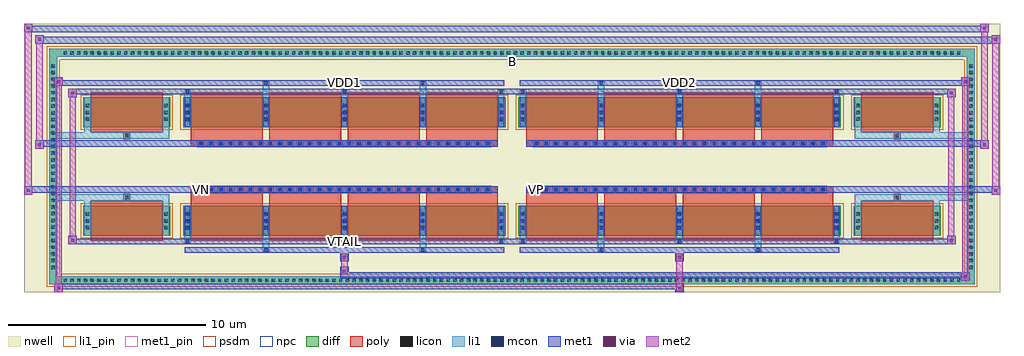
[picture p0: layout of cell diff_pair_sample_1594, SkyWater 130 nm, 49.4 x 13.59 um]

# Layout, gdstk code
import gdstk
lib = gdstk.Library(unit=1e-6, precision=5e-09)
def R(c, l, rs):  # rectangles x0, y0, x1, y1
    for r in rs: c.add(gdstk.rectangle(r[:2], r[2:], *l))
def A(c, l, x, y, w, h, nx, ny, dx, dy):  # array of equal rectangles
    R(c, l, [(x+i*dx, y+j*dy, x+i*dx+w, y+j*dy+h) for i in range(nx) for j in range(ny)])
def P(c, l, *ps):  # polygons
    for p in ps: c.add(gdstk.Polygon(p, *l))
nwell = (64, 20)
diff = (65, 20)
poly = (66, 20)
licon = (66, 44)
li1_pin = (67, 16)
li1 = (67, 20)
mcon = (67, 44)
met1_pin = (68, 16)
met1 = (68, 20)
via = (68, 44)
met2 = (69, 20)
psdm = (94, 20)
npc = (95, 20)

diff_pair_sample_1594 = lib.new_cell('diff_pair_sample_1594')
R(diff_pair_sample_1594, nwell, [(-24.7,-6.36,24.7,7.23), (-22.02,-4.55,-0.01,-0.795), (0.01,-4.55,22.02,-0.795), (-22.02,0.795,-0.01,4.55), (0.01,0.795,22.02,4.55)])
A(diff_pair_sample_1594, diff, -22.815, -5.96, 0.41, 0.41, 134, 2, 0.34, 11.51)
A(diff_pair_sample_1594, diff, -23.43, -5.305, 0.41, 0.41, 1, 31, 0, 0.34)
A(diff_pair_sample_1594, diff, 23.02, -5.305, 0.41, 0.41, 1, 31, 0, 0.34)
R(diff_pair_sample_1594, diff, [(-22.815,-5.96,22.815,-5.55), (-23.43,-5.305,-23.02,5.305), (23.02,-5.305,23.43,5.305), (-21.71,-3.505,-17.29,-1.985), (-16.65,-3.505,-0.32,-1.985), (0.32,-3.505,16.65,-1.985), (17.29,-3.505,21.71,-1.985), (-21.71,1.985,-17.29,3.505), (-16.65,1.985,-0.32,3.505), (0.32,1.985,16.65,3.505), (17.29,1.985,21.71,3.505), (-22.815,5.55,22.815,5.96)])
P(diff_pair_sample_1594, diff, [(23.43,5.96),(-23.43,5.96),(-23.43,-5.55),(-23.02,-5.55),(-23.02,5.55),(23.02,5.55),(23.02,-5.55),(-23.02,-5.55),(-23.43,-5.55),(-23.43,-5.96),(23.43,-5.96)])
A(diff_pair_sample_1594, poly, -16.26, -3.755, 3.64, 2.02, 4, 2, 3.97, 5.49)
A(diff_pair_sample_1594, poly, 0.71, -3.755, 3.64, 2.02, 4, 2, 3.97, 5.49)
A(diff_pair_sample_1594, poly, -16.26, -1.735, 3.64, 0.41, 4, 2, 3.97, 3.06)
A(diff_pair_sample_1594, poly, 0.71, -1.735, 3.64, 0.41, 4, 2, 3.97, 3.06)
A(diff_pair_sample_1594, poly, -15.9, -1.325, 0.33, 0.33, 30, 2, 0.5, 2.32)
A(diff_pair_sample_1594, poly, 1.07, -1.325, 0.33, 0.33, 30, 2, 0.5, 2.32)
R(diff_pair_sample_1594, poly, [(-21.32,-3.755,-17.68,-1.735), (17.68,-3.755,21.32,-1.735), (-19.665,-1.735,-19.335,-1.405), (-19.665,-1.735,-19.335,-1.405), (19.335,-1.735,19.665,-1.405), (19.335,-1.735,19.665,-1.405), (-16.26,-1.325,-0.71,-0.995), (0.71,-1.325,16.26,-0.995), (-16.26,0.995,-0.71,1.325), (0.71,0.995,16.26,1.325), (-19.665,1.405,-19.335,1.735), (-19.665,1.405,-19.335,1.735), (19.335,1.405,19.665,1.735), (19.335,1.405,19.665,1.735), (-21.32,1.735,-17.68,3.755), (17.68,1.735,21.32,3.755)])
A(diff_pair_sample_1594, licon, -22.695, -5.84, 0.17, 0.17, 134, 2, 0.34, 11.51)
A(diff_pair_sample_1594, licon, -23.31, -5.185, 0.17, 0.17, 1, 31, 0, 0.34)
A(diff_pair_sample_1594, licon, 23.14, -5.185, 0.17, 0.17, 1, 31, 0, 0.34)
A(diff_pair_sample_1594, licon, -21.57, -3.17, 0.17, 0.17, 1, 3, 0, 0.34)
A(diff_pair_sample_1594, licon, -17.6, -3.17, 0.17, 0.17, 1, 3, 0, 0.34)
A(diff_pair_sample_1594, licon, -16.51, -3.17, 0.17, 0.17, 5, 3, 3.97, 0.34)
A(diff_pair_sample_1594, licon, 0.46, -3.17, 0.17, 0.17, 5, 3, 3.97, 0.34)
A(diff_pair_sample_1594, licon, 17.43, -3.17, 0.17, 0.17, 1, 3, 0, 0.34)
A(diff_pair_sample_1594, licon, 21.4, -3.17, 0.17, 0.17, 1, 3, 0, 0.34)
A(diff_pair_sample_1594, licon, -15.82, -1.245, 0.17, 0.17, 30, 2, 0.5, 2.32)
A(diff_pair_sample_1594, licon, 1.15, -1.245, 0.17, 0.17, 30, 2, 0.5, 2.32)
A(diff_pair_sample_1594, licon, -21.57, 2.32, 0.17, 0.17, 1, 3, 0, 0.34)
A(diff_pair_sample_1594, licon, -17.6, 2.32, 0.17, 0.17, 1, 3, 0, 0.34)
A(diff_pair_sample_1594, licon, -16.51, 2.32, 0.17, 0.17, 5, 3, 3.97, 0.34)
A(diff_pair_sample_1594, licon, 0.46, 2.32, 0.17, 0.17, 5, 3, 3.97, 0.34)
A(diff_pair_sample_1594, licon, 17.43, 2.32, 0.17, 0.17, 1, 3, 0, 0.34)
A(diff_pair_sample_1594, licon, 21.4, 2.32, 0.17, 0.17, 1, 3, 0, 0.34)
R(diff_pair_sample_1594, licon, [(-19.585,-1.655,-19.415,-1.485), (19.415,-1.655,19.585,-1.485), (-19.585,1.485,-19.415,1.655), (19.415,1.485,19.585,1.655)])
R(diff_pair_sample_1594, li1_pin, [(-0.25,5.05,0.25,5.55)])
A(diff_pair_sample_1594, li1, -22.775, -5.92, 0.33, 0.33, 134, 2, 0.34, 11.51)
A(diff_pair_sample_1594, li1, -23.39, -5.265, 0.33, 0.33, 1, 31, 0, 0.34)
A(diff_pair_sample_1594, li1, 23.06, -5.265, 0.33, 0.33, 1, 31, 0, 0.34)
A(diff_pair_sample_1594, li1, -16.59, -3.88, 0.33, 0.375, 3, 2, 7.94, 7.385)
A(diff_pair_sample_1594, li1, -16.51, -3.88, 0.17, 0.17, 3, 2, 7.94, 7.59)
A(diff_pair_sample_1594, li1, 0.38, -3.88, 0.33, 0.375, 3, 2, 7.94, 7.385)
A(diff_pair_sample_1594, li1, 0.46, -3.88, 0.17, 0.17, 3, 2, 7.94, 7.59)
A(diff_pair_sample_1594, li1, -16.59, -3.505, 0.33, 1.52, 5, 2, 3.97, 5.49)
A(diff_pair_sample_1594, li1, 0.38, -3.505, 0.33, 1.52, 5, 2, 3.97, 5.49)
A(diff_pair_sample_1594, li1, -21.65, -3.25, 0.33, 0.33, 1, 3, 0, 0.34)
A(diff_pair_sample_1594, li1, -17.68, -3.25, 0.33, 0.33, 1, 3, 0, 0.34)
A(diff_pair_sample_1594, li1, -16.59, -3.25, 0.33, 0.33, 5, 3, 3.97, 0.34)
A(diff_pair_sample_1594, li1, 0.38, -3.25, 0.33, 0.33, 5, 3, 3.97, 0.34)
A(diff_pair_sample_1594, li1, 17.35, -3.25, 0.33, 0.33, 1, 3, 0, 0.34)
A(diff_pair_sample_1594, li1, 21.32, -3.25, 0.33, 0.33, 1, 3, 0, 0.34)
A(diff_pair_sample_1594, li1, -16.51, -3.19, 0.17, 0.17, 5, 3, 3.97, 0.36)
A(diff_pair_sample_1594, li1, -16.51, -3.19, 0.17, 0.89, 5, 2, 3.97, 5.49)
A(diff_pair_sample_1594, li1, 0.46, -3.19, 0.17, 0.17, 5, 3, 3.97, 0.36)
A(diff_pair_sample_1594, li1, 0.46, -3.19, 0.17, 0.89, 5, 2, 3.97, 5.49)
A(diff_pair_sample_1594, li1, -15.9, -1.325, 0.33, 0.33, 30, 2, 0.5, 2.32)
A(diff_pair_sample_1594, li1, 1.07, -1.325, 0.33, 0.33, 30, 2, 0.5, 2.32)
A(diff_pair_sample_1594, li1, -21.65, 2.24, 0.33, 0.33, 1, 3, 0, 0.34)
A(diff_pair_sample_1594, li1, -17.68, 2.24, 0.33, 0.33, 1, 3, 0, 0.34)
A(diff_pair_sample_1594, li1, -16.59, 2.24, 0.33, 0.33, 5, 3, 3.97, 0.34)
A(diff_pair_sample_1594, li1, 0.38, 2.24, 0.33, 0.33, 5, 3, 3.97, 0.34)
A(diff_pair_sample_1594, li1, 17.35, 2.24, 0.33, 0.33, 1, 3, 0, 0.34)
A(diff_pair_sample_1594, li1, 21.32, 2.24, 0.33, 0.33, 1, 3, 0, 0.34)
A(diff_pair_sample_1594, li1, -16.51, 2.3, 0.17, 0.17, 5, 3, 3.97, 0.36)
A(diff_pair_sample_1594, li1, 0.46, 2.3, 0.17, 0.17, 5, 3, 3.97, 0.36)
R(diff_pair_sample_1594, li1, [(-23.43,-5.96,-23.02,-5.55), (-23.43,-5.96,-23.02,-5.55), (-23.02,-5.96,23.02,-5.55), (23.02,-5.96,23.43,-5.55), (23.02,-5.96,23.43,-5.55), (-23.43,-5.55,-23.02,5.55), (23.02,-5.55,23.43,5.55), (-12.62,-4.31,-12.29,-3.505), (-12.54,-4.31,-12.37,-4.14), (-4.68,-4.31,-4.35,-3.505), (-4.6,-4.31,-4.43,-4.14), (4.35,-4.31,4.68,-3.505), (4.43,-4.31,4.6,-4.14), (12.29,-4.31,12.62,-3.505), (12.37,-4.31,12.54,-4.14), (-21.65,-3.505,-21.32,-1.985), (-17.68,-3.505,-17.35,-1.985), (17.35,-3.505,17.68,-1.985), (21.32,-3.505,21.65,-1.985), (-21.65,-1.985,-21.32,-1.405), (-17.68,-1.985,-17.35,-1.405), (17.35,-1.985,17.68,-1.405), (21.32,-1.985,21.65,-1.405), (-23.43,-1.735,-19.665,-1.405), (-21.65,-1.735,-19.665,-1.405), (-19.665,-1.735,-19.335,-1.405), (-19.335,-1.735,-17.35,-1.405), (17.35,-1.735,19.335,-1.405), (19.335,-1.735,19.665,-1.405), (19.335,-1.735,23.43,-1.405), (19.665,-1.735,21.65,-1.405), (-23.43,1.405,-19.665,1.735), (-21.65,1.405,-19.665,1.735), (-21.65,1.405,-21.32,1.985), (-19.665,1.405,-19.335,1.735), (-19.335,1.405,-17.35,1.735), (-17.68,1.405,-17.35,1.985), (17.35,1.405,19.335,1.735), (17.35,1.405,17.68,1.985), (19.335,1.405,19.665,1.735), (19.335,1.405,23.43,1.735), (19.665,1.405,21.65,1.735), (21.32,1.405,21.65,1.985), (-21.65,1.985,-21.32,3.505), (-17.68,1.985,-17.35,3.505), (17.35,1.985,17.68,3.505), (21.32,1.985,21.65,3.505), (-12.62,3.505,-12.29,4.31), (-4.68,3.505,-4.35,4.31), (4.35,3.505,4.68,4.31), (12.29,3.505,12.62,4.31), (-12.54,4.14,-12.37,4.31), (-4.6,4.14,-4.43,4.31), (4.43,4.14,4.6,4.31), (12.37,4.14,12.54,4.31), (-23.43,5.55,-23.02,5.96), (-23.43,5.55,-23.02,5.96), (-23.02,5.55,23.02,5.96), (23.02,5.55,23.43,5.96), (23.02,5.55,23.43,5.96)])
A(diff_pair_sample_1594, mcon, -16.51, -3.88, 0.17, 0.17, 3, 2, 7.94, 7.59)
A(diff_pair_sample_1594, mcon, 0.46, -3.88, 0.17, 0.17, 3, 2, 7.94, 7.59)
A(diff_pair_sample_1594, mcon, -16.51, -3.19, 0.17, 0.17, 5, 3, 3.97, 0.36)
A(diff_pair_sample_1594, mcon, 0.46, -3.19, 0.17, 0.17, 5, 3, 3.97, 0.36)
A(diff_pair_sample_1594, mcon, -15.82, -1.245, 0.17, 0.17, 30, 2, 0.5, 2.32)
A(diff_pair_sample_1594, mcon, 1.15, -1.245, 0.17, 0.17, 30, 2, 0.5, 2.32)
A(diff_pair_sample_1594, mcon, -16.51, 2.3, 0.17, 0.17, 5, 3, 3.97, 0.36)
A(diff_pair_sample_1594, mcon, 0.46, 2.3, 0.17, 0.17, 5, 3, 3.97, 0.36)
R(diff_pair_sample_1594, mcon, [(-12.54,-4.31,-12.37,-4.14), (-4.6,-4.31,-4.43,-4.14), (4.43,-4.31,4.6,-4.14), (12.37,-4.31,12.54,-4.14), (-12.54,4.14,-12.37,4.31), (-4.6,4.14,-4.43,4.31), (4.43,4.14,4.6,4.31), (12.37,4.14,12.54,4.31)])
R(diff_pair_sample_1594, met1_pin, [(-8.62,-3.92,-8.35,-3.65), (-15.87,-1.285,-15.6,-1.015), (1.1,-1.285,1.37,-1.015), (-8.62,4.1,-8.35,4.37), (8.35,4.1,8.62,4.37)])
A(diff_pair_sample_1594, met1, -16.57, -3.94, 0.29, 0.29, 3, 2, 7.94, 7.59)
A(diff_pair_sample_1594, met1, 0.4, -3.94, 0.29, 0.29, 3, 2, 7.94, 7.59)
A(diff_pair_sample_1594, met1, -16.57, -3.505, 0.29, 1.52, 5, 2, 3.97, 5.49)
A(diff_pair_sample_1594, met1, 0.4, -3.505, 0.29, 1.52, 5, 2, 3.97, 5.49)
A(diff_pair_sample_1594, met1, -16.57, -3.25, 0.29, 0.29, 5, 3, 3.97, 0.36)
A(diff_pair_sample_1594, met1, 0.4, -3.25, 0.29, 0.29, 5, 3, 3.97, 0.36)
A(diff_pair_sample_1594, met1, -15.88, -1.305, 0.29, 0.29, 30, 2, 0.5, 2.32)
A(diff_pair_sample_1594, met1, 1.09, -1.305, 0.29, 0.29, 30, 2, 0.5, 2.32)
A(diff_pair_sample_1594, met1, -16.57, 2.24, 0.29, 0.29, 5, 3, 3.97, 0.36)
A(diff_pair_sample_1594, met1, 0.4, 2.24, 0.29, 0.29, 5, 3, 3.97, 0.36)
R(diff_pair_sample_1594, met1, [(-23.16,-6.36,-22.73,-5.93), (8.27,-6.36,8.7,-5.93), (-23.16,-6.22,8.7,-5.93), (22.73,-5.79,23.16,-5.36), (-8.7,-5.65,23.16,-5.36), (-8.7,-5.51,-8.27,-5.08), (-8.7,-4.8,-8.27,-4.37), (8.27,-4.8,8.7,-4.37), (-16.57,-4.37,-0.4,-4.08), (-12.6,-4.37,-12.31,-4.08), (-4.66,-4.37,-4.37,-4.08), (0.4,-4.37,16.57,-4.08), (4.37,-4.37,4.66,-4.08), (12.31,-4.37,12.6,-4.08), (-22.45,-3.94,-22.02,-3.51), (-22.45,-3.94,-16.57,-3.65), (-16.57,-3.94,-0.4,-3.65), (-0.4,-3.94,0.4,-3.65), (0.4,-3.94,16.57,-3.65), (16.57,-3.94,22.45,-3.65), (22.02,-3.94,22.45,-3.51), (-24.7,-1.425,-24.27,-0.995), (24.27,-1.425,24.7,-0.995), (-24.7,-1.325,-0.71,-0.995), (-16.26,-1.325,-0.71,-0.995), (0.71,-1.325,16.26,-0.995), (0.71,-1.325,24.7,-0.995), (-24.13,0.895,-23.7,1.325), (23.7,0.895,24.13,1.325), (-24.13,0.995,-16.26,1.325), (-16.26,0.995,-0.71,1.325), (0.71,0.995,16.26,1.325), (16.26,0.995,24.13,1.325), (-22.45,3.51,-22.02,3.94), (22.02,3.51,22.45,3.94), (-22.45,3.65,-16.57,3.94), (-16.57,3.65,-0.4,3.94), (-0.4,3.65,0.4,3.94), (0.4,3.65,16.57,3.94), (16.57,3.65,22.45,3.94), (-23.16,4.08,-22.73,4.51), (-23.16,4.08,-16.57,4.37), (-16.57,4.08,-0.4,4.37), (-12.6,4.08,-12.31,4.37), (-4.66,4.08,-4.37,4.37), (0.4,4.08,16.57,4.37), (4.37,4.08,4.66,4.37), (12.31,4.08,12.6,4.37), (16.57,4.08,23.16,4.37), (22.73,4.08,23.16,4.51), (-24.13,6.23,-23.7,6.66), (-24.13,6.23,-22.02,6.56), (-22.02,6.23,22.02,6.56), (22.02,6.23,24.7,6.56), (24.27,6.23,24.7,6.66), (-24.7,6.8,-24.27,7.23), (-24.7,6.8,-22.02,7.13), (-22.02,6.8,22.02,7.13), (22.02,6.8,24.13,7.13), (23.7,6.8,24.13,7.23)])
R(diff_pair_sample_1594, via, [(-23.02,-6.22,-22.87,-6.07), (8.41,-6.22,8.56,-6.07), (22.87,-5.65,23.02,-5.5), (-8.56,-5.37,-8.41,-5.22), (-8.56,-4.66,-8.41,-4.51), (8.41,-4.66,8.56,-4.51), (-22.31,-3.8,-22.16,-3.65), (22.16,-3.8,22.31,-3.65), (-24.56,-1.285,-24.41,-1.135), (24.41,-1.285,24.56,-1.135), (-23.99,1.035,-23.84,1.185), (23.84,1.035,23.99,1.185), (-22.31,3.65,-22.16,3.8), (22.16,3.65,22.31,3.8), (-23.02,4.22,-22.87,4.37), (22.87,4.22,23.02,4.37), (-23.99,6.37,-23.84,6.52), (24.41,6.37,24.56,6.52), (-24.56,6.94,-24.41,7.09), (23.84,6.94,23.99,7.09)])
R(diff_pair_sample_1594, met2, [(-23.16,-6.36,-22.73,-5.93), (-23.09,-6.36,-22.8,4.51), (-22.8,-6.36,-22.73,-5.93), (-23.11,-6.31,-22.78,-5.98), (8.32,-6.31,8.65,-5.98), (8.32,-5.98,8.65,-4.75), (22.73,-5.79,23.16,-5.36), (22.8,-5.79,23.09,4.51), (23.09,-5.79,23.16,-5.36), (22.78,-5.74,23.11,-5.41), (-8.65,-5.46,-8.32,-5.13), (-8.65,-5.13,-8.32,-4.75), (-8.65,-4.75,-8.32,-4.42), (8.32,-4.75,8.65,-4.42), (-22.45,-3.94,-22.02,-3.51), (-22.38,-3.94,-22.09,3.94), (-22.09,-3.94,-22.02,-3.51), (22.02,-3.94,22.45,-3.51), (22.09,-3.94,22.38,3.94), (22.38,-3.94,22.45,-3.51), (-22.4,-3.89,-22.07,-3.56), (22.07,-3.89,22.4,-3.56), (-24.7,-1.425,-24.27,-0.995), (-24.65,-1.425,-24.32,7.23), (-24.32,-1.425,-24.27,-0.995), (24.27,-1.425,24.7,-0.995), (24.32,-1.425,24.65,6.66), (24.65,-1.425,24.7,-0.995), (-24.65,-1.375,-24.32,-1.045), (24.32,-1.375,24.65,-1.045), (-24.13,0.895,-23.7,1.325), (-24.08,0.895,-23.75,6.66), (-23.75,0.895,-23.7,1.325), (23.7,0.895,24.13,1.325), (23.75,0.895,24.08,7.23), (24.08,0.895,24.13,1.325), (-24.08,0.945,-23.75,1.275), (23.75,0.945,24.08,1.275), (-22.45,3.51,-22.02,3.94), (-22.09,3.51,-22.02,3.94), (22.02,3.51,22.45,3.94), (22.38,3.51,22.45,3.94), (-22.4,3.56,-22.07,3.89), (22.07,3.56,22.4,3.89), (-23.16,4.08,-22.73,4.51), (-22.8,4.08,-22.73,4.51), (22.73,4.08,23.16,4.51), (23.09,4.08,23.16,4.51), (-23.11,4.13,-22.78,4.46), (22.78,4.13,23.11,4.46), (-24.13,6.23,-23.7,6.66), (-23.75,6.23,-23.7,6.66), (24.27,6.23,24.7,6.66), (24.65,6.23,24.7,6.66), (-24.08,6.28,-23.75,6.61), (24.32,6.28,24.65,6.61), (-24.7,6.8,-24.27,7.23), (-24.32,6.8,-24.27,7.23), (23.7,6.8,24.13,7.23), (24.08,6.8,24.13,7.23), (-24.65,6.85,-24.32,7.18), (23.75,6.85,24.08,7.18)])
R(diff_pair_sample_1594, psdm, [(-21.84,-3.635,-17.16,-1.855), (-16.78,-3.635,-0.19,-1.855), (0.19,-3.635,16.78,-1.855), (17.16,-3.635,21.84,-1.855), (-21.84,1.855,-17.16,3.635), (-16.78,1.855,-0.19,3.635), (0.19,1.855,16.78,3.635), (17.16,1.855,21.84,3.635)])
P(diff_pair_sample_1594, psdm, [(23.56,6.09),(-23.56,6.09),(-23.56,-5.42),(-22.89,-5.42),(-22.89,5.42),(22.89,5.42),(22.89,-5.42),(-22.89,-5.42),(-23.56,-5.42),(-23.56,-6.09),(23.56,-6.09)])
A(diff_pair_sample_1594, npc, -15.92, -1.345, 0.37, 0.37, 30, 2, 0.5, 2.32)
A(diff_pair_sample_1594, npc, 1.05, -1.345, 0.37, 0.37, 30, 2, 0.5, 2.32)
R(diff_pair_sample_1594, npc, [(-19.685,-1.755,-19.315,-1.385), (19.315,-1.755,19.685,-1.385), (-15.92,-1.345,-15.05,-0.975), (-15.92,-1.345,-15.05,-0.975), (-15.42,-1.345,-14.55,-0.975), (-15.42,-1.345,-14.55,-0.975), (-14.92,-1.345,-14.05,-0.975), (-14.92,-1.345,-14.05,-0.975), (-14.42,-1.345,-13.55,-0.975), (-14.42,-1.345,-13.55,-0.975), (-13.92,-1.345,-13.05,-0.975), (-13.92,-1.345,-13.05,-0.975), (-13.42,-1.345,-12.55,-0.975), (-13.42,-1.345,-12.55,-0.975), (-12.92,-1.345,-12.05,-0.975), (-12.92,-1.345,-12.05,-0.975), (-12.42,-1.345,-11.55,-0.975), (-12.42,-1.345,-11.55,-0.975), (-11.92,-1.345,-11.05,-0.975), (-11.92,-1.345,-11.05,-0.975), (-11.42,-1.345,-10.55,-0.975), (-11.42,-1.345,-10.55,-0.975), (-10.92,-1.345,-10.05,-0.975), (-10.92,-1.345,-10.05,-0.975), (-10.42,-1.345,-9.55,-0.975), (-10.42,-1.345,-9.55,-0.975), (-9.92,-1.345,-9.05,-0.975), (-9.92,-1.345,-9.05,-0.975), (-9.42,-1.345,-8.55,-0.975), (-9.42,-1.345,-8.55,-0.975), (-8.92,-1.345,-8.05,-0.975), (-8.92,-1.345,-8.05,-0.975), (-8.42,-1.345,-7.55,-0.975), (-8.42,-1.345,-7.55,-0.975), (-7.92,-1.345,-7.05,-0.975), (-7.92,-1.345,-7.05,-0.975), (-7.42,-1.345,-6.55,-0.975), (-7.42,-1.345,-6.55,-0.975), (-6.92,-1.345,-6.05,-0.975), (-6.92,-1.345,-6.05,-0.975), (-6.42,-1.345,-5.55,-0.975), (-6.42,-1.345,-5.55,-0.975), (-5.92,-1.345,-5.05,-0.975), (-5.92,-1.345,-5.05,-0.975), (-5.42,-1.345,-4.55,-0.975), (-5.42,-1.345,-4.55,-0.975), (-4.92,-1.345,-4.05,-0.975), (-4.92,-1.345,-4.05,-0.975), (-4.42,-1.345,-3.55,-0.975), (-4.42,-1.345,-3.55,-0.975), (-3.92,-1.345,-3.05,-0.975), (-3.92,-1.345,-3.05,-0.975), (-3.42,-1.345,-2.55,-0.975), (-3.42,-1.345,-2.55,-0.975), (-2.92,-1.345,-2.05,-0.975), (-2.92,-1.345,-2.05,-0.975), (-2.42,-1.345,-1.55,-0.975), (-2.42,-1.345,-1.55,-0.975), (-1.92,-1.345,-1.05,-0.975), (-1.92,-1.345,-1.05,-0.975), (1.05,-1.345,1.92,-0.975), (1.05,-1.345,1.92,-0.975), (1.55,-1.345,2.42,-0.975), (1.55,-1.345,2.42,-0.975), (2.05,-1.345,2.92,-0.975), (2.05,-1.345,2.92,-0.975), (2.55,-1.345,3.42,-0.975), (2.55,-1.345,3.42,-0.975), (3.05,-1.345,3.92,-0.975), (3.05,-1.345,3.92,-0.975), (3.55,-1.345,4.42,-0.975), (3.55,-1.345,4.42,-0.975), (4.05,-1.345,4.92,-0.975), (4.05,-1.345,4.92,-0.975), (4.55,-1.345,5.42,-0.975), (4.55,-1.345,5.42,-0.975), (5.05,-1.345,5.92,-0.975), (5.05,-1.345,5.92,-0.975), (5.55,-1.345,6.42,-0.975), (5.55,-1.345,6.42,-0.975), (6.05,-1.345,6.92,-0.975), (6.05,-1.345,6.92,-0.975), (6.55,-1.345,7.42,-0.975), (6.55,-1.345,7.42,-0.975), (7.05,-1.345,7.92,-0.975), (7.05,-1.345,7.92,-0.975), (7.55,-1.345,8.42,-0.975), (7.55,-1.345,8.42,-0.975), (8.05,-1.345,8.92,-0.975), (8.05,-1.345,8.92,-0.975), (8.55,-1.345,9.42,-0.975), (8.55,-1.345,9.42,-0.975), (9.05,-1.345,9.92,-0.975), (9.05,-1.345,9.92,-0.975), (9.55,-1.345,10.42,-0.975), (9.55,-1.345,10.42,-0.975), (10.05,-1.345,10.92,-0.975), (10.05,-1.345,10.92,-0.975), (10.55,-1.345,11.42,-0.975), (10.55,-1.345,11.42,-0.975), (11.05,-1.345,11.92,-0.975), (11.05,-1.345,11.92,-0.975), (11.55,-1.345,12.42,-0.975), (11.55,-1.345,12.42,-0.975), (12.05,-1.345,12.92,-0.975), (12.05,-1.345,12.92,-0.975), (12.55,-1.345,13.42,-0.975), (12.55,-1.345,13.42,-0.975), (13.05,-1.345,13.92,-0.975), (13.05,-1.345,13.92,-0.975), (13.55,-1.345,14.42,-0.975), (13.55,-1.345,14.42,-0.975), (14.05,-1.345,14.92,-0.975), (14.05,-1.345,14.92,-0.975), (14.55,-1.345,15.42,-0.975), (14.55,-1.345,15.42,-0.975), (15.05,-1.345,15.92,-0.975), (15.05,-1.345,15.92,-0.975), (-15.92,0.975,-15.05,1.345), (-15.92,0.975,-15.05,1.345), (-15.42,0.975,-14.55,1.345), (-15.42,0.975,-14.55,1.345), (-14.92,0.975,-14.05,1.345), (-14.92,0.975,-14.05,1.345), (-14.42,0.975,-13.55,1.345), (-14.42,0.975,-13.55,1.345), (-13.92,0.975,-13.05,1.345), (-13.92,0.975,-13.05,1.345), (-13.42,0.975,-12.55,1.345), (-13.42,0.975,-12.55,1.345), (-12.92,0.975,-12.05,1.345), (-12.92,0.975,-12.05,1.345), (-12.42,0.975,-11.55,1.345), (-12.42,0.975,-11.55,1.345), (-11.92,0.975,-11.05,1.345), (-11.92,0.975,-11.05,1.345), (-11.42,0.975,-10.55,1.345), (-11.42,0.975,-10.55,1.345), (-10.92,0.975,-10.05,1.345), (-10.92,0.975,-10.05,1.345), (-10.42,0.975,-9.55,1.345), (-10.42,0.975,-9.55,1.345), (-9.92,0.975,-9.05,1.345), (-9.92,0.975,-9.05,1.345), (-9.42,0.975,-8.55,1.345), (-9.42,0.975,-8.55,1.345), (-8.92,0.975,-8.05,1.345), (-8.92,0.975,-8.05,1.345), (-8.42,0.975,-7.55,1.345), (-8.42,0.975,-7.55,1.345), (-7.92,0.975,-7.05,1.345), (-7.92,0.975,-7.05,1.345), (-7.42,0.975,-6.55,1.345), (-7.42,0.975,-6.55,1.345), (-6.92,0.975,-6.05,1.345), (-6.92,0.975,-6.05,1.345), (-6.42,0.975,-5.55,1.345), (-6.42,0.975,-5.55,1.345), (-5.92,0.975,-5.05,1.345), (-5.92,0.975,-5.05,1.345), (-5.42,0.975,-4.55,1.345), (-5.42,0.975,-4.55,1.345), (-4.92,0.975,-4.05,1.345), (-4.92,0.975,-4.05,1.345), (-4.42,0.975,-3.55,1.345), (-4.42,0.975,-3.55,1.345), (-3.92,0.975,-3.05,1.345), (-3.92,0.975,-3.05,1.345), (-3.42,0.975,-2.55,1.345), (-3.42,0.975,-2.55,1.345), (-2.92,0.975,-2.05,1.345), (-2.92,0.975,-2.05,1.345), (-2.42,0.975,-1.55,1.345), (-2.42,0.975,-1.55,1.345), (-1.92,0.975,-1.05,1.345), (-1.92,0.975,-1.05,1.345), (1.05,0.975,1.92,1.345), (1.05,0.975,1.92,1.345), (1.55,0.975,2.42,1.345), (1.55,0.975,2.42,1.345), (2.05,0.975,2.92,1.345), (2.05,0.975,2.92,1.345), (2.55,0.975,3.42,1.345), (2.55,0.975,3.42,1.345), (3.05,0.975,3.92,1.345), (3.05,0.975,3.92,1.345), (3.55,0.975,4.42,1.345), (3.55,0.975,4.42,1.345), (4.05,0.975,4.92,1.345), (4.05,0.975,4.92,1.345), (4.55,0.975,5.42,1.345), (4.55,0.975,5.42,1.345), (5.05,0.975,5.92,1.345), (5.05,0.975,5.92,1.345), (5.55,0.975,6.42,1.345), (5.55,0.975,6.42,1.345), (6.05,0.975,6.92,1.345), (6.05,0.975,6.92,1.345), (6.55,0.975,7.42,1.345), (6.55,0.975,7.42,1.345), (7.05,0.975,7.92,1.345), (7.05,0.975,7.92,1.345), (7.55,0.975,8.42,1.345), (7.55,0.975,8.42,1.345), (8.05,0.975,8.92,1.345), (8.05,0.975,8.92,1.345), (8.55,0.975,9.42,1.345), (8.55,0.975,9.42,1.345), (9.05,0.975,9.92,1.345), (9.05,0.975,9.92,1.345), (9.55,0.975,10.42,1.345), (9.55,0.975,10.42,1.345), (10.05,0.975,10.92,1.345), (10.05,0.975,10.92,1.345), (10.55,0.975,11.42,1.345), (10.55,0.975,11.42,1.345), (11.05,0.975,11.92,1.345), (11.05,0.975,11.92,1.345), (11.55,0.975,12.42,1.345), (11.55,0.975,12.42,1.345), (12.05,0.975,12.92,1.345), (12.05,0.975,12.92,1.345), (12.55,0.975,13.42,1.345), (12.55,0.975,13.42,1.345), (13.05,0.975,13.92,1.345), (13.05,0.975,13.92,1.345), (13.55,0.975,14.42,1.345), (13.55,0.975,14.42,1.345), (14.05,0.975,14.92,1.345), (14.05,0.975,14.92,1.345), (14.55,0.975,15.42,1.345), (14.55,0.975,15.42,1.345), (15.05,0.975,15.92,1.345), (15.05,0.975,15.92,1.345), (-19.685,1.385,-19.315,1.755), (19.315,1.385,19.685,1.755)])
diff_pair_sample_1594.add(gdstk.Label('VTAIL', (-8.485,-3.785), layer=68, texttype=5))
diff_pair_sample_1594.add(gdstk.Label('VN', (-15.735,-1.15), layer=68, texttype=5))
diff_pair_sample_1594.add(gdstk.Label('VP', (1.235,-1.15), layer=68, texttype=5))
diff_pair_sample_1594.add(gdstk.Label('B', (0,5.3), layer=67, texttype=5))
diff_pair_sample_1594.add(gdstk.Label('VDD2', (8.485,4.235), layer=68, texttype=5))
diff_pair_sample_1594.add(gdstk.Label('VDD1', (-8.485,4.235), layer=68, texttype=5))

lib.write_gds('diff_pair_sample_1594.gds')
